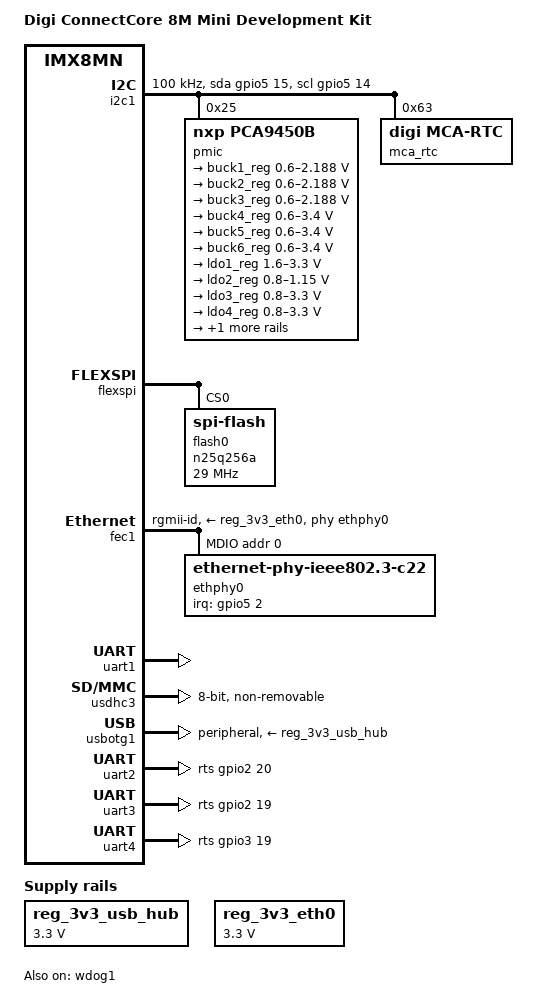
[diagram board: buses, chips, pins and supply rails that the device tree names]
/*
 * Copyright 2019 Digi International Inc
 * Copyright 2018-2019 NXP
 *
 * This program is free software; you can redistribute it and/or
 * modify it under the terms of the GNU General Public License
 * as published by the Free Software Foundation; either version 2
 * of the License, or (at your option) any later version.
 *
 * This program is distributed in the hope that it will be useful,
 * but WITHOUT ANY WARRANTY; without even the implied warranty of
 * MERCHANTABILITY or FITNESS FOR A PARTICULAR PURPOSE.  See the
 * GNU General Public License for more details.
 */

/dts-v1/;

#include <dt-bindings/usb/pd.h>
#include "imx8mn.dtsi"

/ {
	model = "Digi ConnectCore 8M Mini Development Kit";
	compatible = "digi,ccimx8mn", "digi,ccimx8mn-dvk", "fsl,imx8mn-evk", "fsl,imx8mn";

	/*
	 * Some tools (like fw_printenv) rely on fixed mmcblk device indexes
	 * but these are not guaranteed by the kernel.
	 * The use of aliases allows to reorder the mmcblk indexes of every
	 * mmc device. Notice that using aliases requires that ALL mmc devices
	 * have one.
	 */
	aliases {
		mmc0 = &usdhc3;		/* eMMC */
	  //mmc1 = &usdhc2;		/* microSD */
		mmc2 = &usdhc1;
	};

	chosen {
		bootargs = "console=ttymxc0,115200 earlycon=ec_imx6q,0x30860000,115200";
		stdout-path = &uart1;
	};

	regulators {
		compatible = "simple-bus";
		#address-cells = <1>;
		#size-cells = <0>;

		reg_3v3_usb_hub: regulator-usb-hub {
			compatible = "regulator-fixed";
			regulator-name = "3v3_usb_hub";
			regulator-min-microvolt = <3300000>;
			regulator-max-microvolt = <3300000>;
			/* No GPIO enable, always on */
    			regulator-always-on;
    			regulator-boot-on;
		};
		
		reg_3v3_eth0: regulator-ethphy {
			compatible = "regulator-fixed";
			regulator-name = "3v3_eth0";
			regulator-min-microvolt = <3300000>;
			regulator-max-microvolt = <3300000>;
			/* No GPIO enable, always on */
    			regulator-always-on;
			regulator-boot-on;
		};
	};

	thermal-zones {
		/* cpu thermal */
		cpu-thermal {
			polling-delay-passive = <250>;
			polling-delay = <2000>;
			thermal-sensors = <&tmu>;
			trips {
				cpu_alert0: trip0 {
					temperature = <85000>;
					hysteresis = <2000>;
					type = "passive";
				};
				cpu_crit0: trip1 {
					temperature = <100000>;
					hysteresis = <2000>;
					type = "critical";
				};
			};
		};
	};

	mca_gpio_uboot: mca_gpio {
		compatible = "digi,mca-gpio";
		gpio-controller;
	};

	mca_rtc_uboot: mca_rtc {
		compatible = "digi,mca-rtc";
	};

	mca_wdt_uboot: mca_wdt {
		compatible = "digi,mca-wdt";

		soft-rfsh {
			digi,full-reset;
			digi,no-way-out;
		};
	};
};

&iomuxc {
	pinctrl-names = "default";
    pinctrl-0 = <&pinctrl_hog>;
//	pinctrl-0 = <&pinctrl_uart2_gpios>, <&pinctrl_ilock>, <&pinctrl_ttl_i>, <&pinctrl_ttl_o>, <&pinctrl_gpib>;

	imx8mn-evk {
		pinctrl_hog_1: hoggrp-1 {
			fsl,pins = <
				MX8MN_IOMUXC_GPIO1_IO08_GPIO1_IO8		0x16
			>;
		};

		pinctrl_fec1: fec1grp {
			fsl,pins = <
				MX8MN_IOMUXC_ENET_MDC_ENET1_MDC		0x3
				MX8MN_IOMUXC_ENET_MDIO_ENET1_MDIO	0x3
				MX8MN_IOMUXC_ENET_TD3_ENET1_RGMII_TD3	0x1f
				MX8MN_IOMUXC_ENET_TD2_ENET1_RGMII_TD2	0x1f
				MX8MN_IOMUXC_ENET_TD1_ENET1_RGMII_TD1	0x1f
				MX8MN_IOMUXC_ENET_TD0_ENET1_RGMII_TD0	0x1f
				MX8MN_IOMUXC_ENET_RD3_ENET1_RGMII_RD3	0x91
				MX8MN_IOMUXC_ENET_RD2_ENET1_RGMII_RD2	0x91
				MX8MN_IOMUXC_ENET_RD1_ENET1_RGMII_RD1	0x91
				MX8MN_IOMUXC_ENET_RD0_ENET1_RGMII_RD0	0x91
				MX8MN_IOMUXC_ENET_TXC_ENET1_RGMII_TXC	0x1f
				MX8MN_IOMUXC_ENET_RXC_ENET1_RGMII_RXC	0x91
				MX8MN_IOMUXC_ENET_RX_CTL_ENET1_RGMII_RX_CTL	0x91
				MX8MN_IOMUXC_ENET_TX_CTL_ENET1_RGMII_TX_CTL	0x1f
				/* PHY reset */
				// MX8MN_IOMUXC_SPDIF_TX_GPIO5_IO3			0x19
				/* PHY power */
				/* MX8MN_IOMUXC_SPDIF_RX_GPIO5_IO4		0x19  */
				/* PHY interrupt */
			         MX8MN_IOMUXC_SAI3_MCLK_GPIO5_IO2 		0x19  
			>;
		};
		
		/*@Mezrher Serial NOR Flash Boot via FlexSPI-> not used here, but activated whenever needed   */
			
		pinctrl_flexspi0: flexspi0grp {
			fsl,pins = <
			
				MX8MN_IOMUXC_NAND_ALE_QSPI_A_SCLK 0x1c4
				MX8MN_IOMUXC_NAND_CE0_B_QSPI_A_SS0_B 0x84

				MX8MN_IOMUXC_NAND_DATA00_QSPI_A_DATA0 0x84
				MX8MN_IOMUXC_NAND_DATA01_QSPI_A_DATA1 0x84
				MX8MN_IOMUXC_NAND_DATA02_QSPI_A_DATA2 0x84
				MX8MN_IOMUXC_NAND_DATA03_QSPI_A_DATA3 0x84
			
			>;
		};
		 //pmic pinctrl used for the SOM  
		 
		pinctrl_i2c1: i2c1grp {
			fsl,pins = <
				MX8MN_IOMUXC_I2C1_SCL_I2C1_SCL			0x400001c3
				MX8MN_IOMUXC_I2C1_SDA_I2C1_SDA			0x400001c3
			>;
		};
/*
		pinctrl_i2c2: i2c2grp {
			fsl,pins = <
				MX8MN_IOMUXC_I2C2_SCL_I2C2_SCL			0x400001c3
				MX8MN_IOMUXC_I2C2_SDA_I2C2_SDA			0x400001c3
			>;
		};

*/		

/*
		pinctrl_i2c3: i2c3grp {
			fsl,pins = <
				MX8MN_IOMUXC_I2C3_SCL_I2C3_SCL			0x400001c3
				MX8MN_IOMUXC_I2C3_SDA_I2C3_SDA			0x400001c3
			>;
		};
*/
		pinctrl_i2c1_gpio: i2c1grp-gpio {
			fsl,pins = <
				MX8MN_IOMUXC_I2C1_SCL_GPIO5_IO14        		0x1c3
				MX8MN_IOMUXC_I2C1_SDA_GPIO5_IO15        	0x1c3
			>;
		};

/*
		pinctrl_i2c2_gpio: i2c2grp-gpio {
			fsl,pins = <
				MX8MN_IOMUXC_I2C2_SCL_GPIO5_IO16        		0x1c3
				MX8MN_IOMUXC_I2C2_SDA_GPIO5_IO17        	0x1c3
			>;
		};
*/

/*
		pinctrl_i2c3_gpio: i2c3grp-gpio {
			fsl,pins = <
				MX8MN_IOMUXC_I2C3_SCL_GPIO5_IO18        		0x1c3
				MX8MN_IOMUXC_I2C3_SDA_GPIO5_IO19        	0x1c3
			>;
		};

*/

//@Mezrher Check this Pin !!! double use !!! in GPIB Group

/*
		pinctrl_pmic: pmicirq {
			fsl,pins = <
				MX8MN_IOMUXC_GPIO1_IO03_GPIO1_IO3		0x41
			>;
		};
*/

		pinctrl_uart1: uart1grp {
			fsl,pins = <
				MX8MN_IOMUXC_SAI2_RXC_UART1_DCE_RX	0x49
				MX8MN_IOMUXC_SAI2_RXFS_UART1_DCE_TX	0x49
			>;
		};

		pinctrl_usbotg1: usbotg1grp {
			fsl,pins = <
				/* USB hub reset */
				MX8MN_IOMUXC_ECSPI2_SCLK_GPIO5_IO10		0x16
			>;
		};

/*		pinctrl_usdhc2_gpio: usdhc2grpgpio {
			fsl,pins = <
				//Card detect 
				MX8MN_IOMUXC_SD2_CD_B_GPIO2_IO12	0x1d0
				//MUX_VSELECT 
				MX8MN_IOMUXC_SAI3_TXD_GPIO5_IO1	0x190
			>;
		};    
*/

/*
		pinctrl_usdhc2: usdhc2grp {
			fsl,pins = <
				MX8MN_IOMUXC_SD2_CLK_USDHC2_CLK	0x190
				MX8MN_IOMUXC_SD2_CMD_USDHC2_CMD	0x1d0
				MX8MN_IOMUXC_SD2_DATA0_USDHC2_DATA0	0x1d0
				MX8MN_IOMUXC_SD2_DATA1_USDHC2_DATA1	0x1d0
				MX8MN_IOMUXC_SD2_DATA2_USDHC2_DATA2	0x1d0
				MX8MN_IOMUXC_SD2_DATA3_USDHC2_DATA3	0x1d0
			>;
		};
*/

/*

		pinctrl_usdhc2_100mhz: usdhc2grp100mhz {
			fsl,pins = <
				MX8MN_IOMUXC_SD2_CLK_USDHC2_CLK	0x194
				MX8MN_IOMUXC_SD2_CMD_USDHC2_CMD	0x1d4
				MX8MN_IOMUXC_SD2_DATA0_USDHC2_DATA0	0x1d4
				MX8MN_IOMUXC_SD2_DATA1_USDHC2_DATA1	0x1d4
				MX8MN_IOMUXC_SD2_DATA2_USDHC2_DATA2	0x1d4
				MX8MN_IOMUXC_SD2_DATA3_USDHC2_DATA3	0x1d4
			>;
		};
*/

/*
		pinctrl_usdhc2_200mhz: usdhc2grp200mhz {
			fsl,pins = <
				MX8MN_IOMUXC_SD2_CLK_USDHC2_CLK	0x196
				MX8MN_IOMUXC_SD2_CMD_USDHC2_CMD	0x1d6
				MX8MN_IOMUXC_SD2_DATA0_USDHC2_DATA0	0x1d6
				MX8MN_IOMUXC_SD2_DATA1_USDHC2_DATA1	0x1d6
				MX8MN_IOMUXC_SD2_DATA2_USDHC2_DATA2	0x1d6
				MX8MN_IOMUXC_SD2_DATA3_USDHC2_DATA3	0x1d6
			>;
		};
*/

		pinctrl_usdhc3: usdhc3grp {
			fsl,pins = <
				MX8MN_IOMUXC_NAND_WE_B_USDHC3_CLK		0x40000190
				MX8MN_IOMUXC_NAND_WP_B_USDHC3_CMD		0x1d0
				MX8MN_IOMUXC_NAND_DATA04_USDHC3_DATA0		0x1d0
				MX8MN_IOMUXC_NAND_DATA05_USDHC3_DATA1		0x1d0
				MX8MN_IOMUXC_NAND_DATA06_USDHC3_DATA2		0x1d0
				MX8MN_IOMUXC_NAND_DATA07_USDHC3_DATA3		0x1d0
				MX8MN_IOMUXC_NAND_RE_B_USDHC3_DATA4		0x1d0
				MX8MN_IOMUXC_NAND_CE2_B_USDHC3_DATA5		0x1d0
				MX8MN_IOMUXC_NAND_CE3_B_USDHC3_DATA6		0x1d0
				MX8MN_IOMUXC_NAND_CLE_USDHC3_DATA7		0x1d0
				MX8MN_IOMUXC_NAND_CE1_B_USDHC3_STROBE 		0x190
				MX8MN_IOMUXC_NAND_READY_B_USDHC3_RESET_B	0xc1
			>;
		};

		pinctrl_usdhc3_100mhz: usdhc3grp100mhz {
			fsl,pins = <
				MX8MN_IOMUXC_NAND_WE_B_USDHC3_CLK		0x40000194
				MX8MN_IOMUXC_NAND_WP_B_USDHC3_CMD		0x1d4
				MX8MN_IOMUXC_NAND_DATA04_USDHC3_DATA0		0x1d4
				MX8MN_IOMUXC_NAND_DATA05_USDHC3_DATA1		0x1d4
				MX8MN_IOMUXC_NAND_DATA06_USDHC3_DATA2		0x1d4
				MX8MN_IOMUXC_NAND_DATA07_USDHC3_DATA3		0x1d4
				MX8MN_IOMUXC_NAND_RE_B_USDHC3_DATA4		0x1d4
				MX8MN_IOMUXC_NAND_CE2_B_USDHC3_DATA5		0x1d4
				MX8MN_IOMUXC_NAND_CE3_B_USDHC3_DATA6		0x1d4
				MX8MN_IOMUXC_NAND_CLE_USDHC3_DATA7		0x1d4
				MX8MN_IOMUXC_NAND_CE1_B_USDHC3_STROBE 		0x194
				MX8MN_IOMUXC_NAND_READY_B_USDHC3_RESET_B	0xc1
			>;
		};

		pinctrl_usdhc3_200mhz: usdhc3grp200mhz {
			fsl,pins = <
				MX8MN_IOMUXC_NAND_WE_B_USDHC3_CLK		0x40000196
				MX8MN_IOMUXC_NAND_WP_B_USDHC3_CMD		0x1d6
				MX8MN_IOMUXC_NAND_DATA04_USDHC3_DATA0		0x1d6
				MX8MN_IOMUXC_NAND_DATA05_USDHC3_DATA1		0x1d6
				MX8MN_IOMUXC_NAND_DATA06_USDHC3_DATA2		0x1d6
				MX8MN_IOMUXC_NAND_DATA07_USDHC3_DATA3		0x1d6
				MX8MN_IOMUXC_NAND_RE_B_USDHC3_DATA4		0x1d6
				MX8MN_IOMUXC_NAND_CE2_B_USDHC3_DATA5		0x1d6
				MX8MN_IOMUXC_NAND_CE3_B_USDHC3_DATA6		0x1d6
				MX8MN_IOMUXC_NAND_CLE_USDHC3_DATA7		0x1d6
				MX8MN_IOMUXC_NAND_CE1_B_USDHC3_STROBE 		0x196
				MX8MN_IOMUXC_NAND_READY_B_USDHC3_RESET_B	0xc1
			>;
		};

		pinctrl_wdog: wdoggrp {
			fsl,pins = <
				MX8MN_IOMUXC_GPIO1_IO02_WDOG1_WDOG_B		0xc6
			>;
		};
	};
};
 /* @Mezrher I2C1 connects internally to the power management IC (PMIC), 
    the on-module Micro Controller Assist (MCA), 
	and the Atmel Cryptochip */
	
&i2c1 {
	clock-frequency = <100000>;
	pinctrl-names = "default", "gpio";
	pinctrl-0 = <&pinctrl_i2c1>;
	pinctrl-1 = <&pinctrl_i2c1_gpio>;
	scl-gpios = <&gpio5 14 GPIO_ACTIVE_HIGH>;
	sda-gpios = <&gpio5 15 GPIO_ACTIVE_HIGH>;
	status = "okay";

	/*
	 * This PMIC is only present in ccimx8mn revisions 2 and higher, revision 1
	 * of the SOM uses the bd71837. This causes errors when attempting to use
	 * the "pmic" command in v1 SOMs. The initialization of the PMIC is handled
	 * in the SPL without using device tree information, and is compatible with
	 * both PMICs.
	 */
	pmic: pca9450@25 {
		reg = <0x25>;
		compatible = "nxp,pca9450b";

		gpo {
			nxp,drv = <0x0C>;	/* 0b0000_1100 all gpos with cmos output mode */
		};

		regulators {
			#address-cells = <1>;
			#size-cells = <0>;

			pca9450,pmic-buck2-uses-i2c-dvs;
			pca9450,pmic-buck2-dvs-voltage = <1000000>, <900000>, <0>; /* VDD_ARM: Run-Idle */

			buck1_reg: regulator@0 {
				reg = <0>;
				regulator-compatible = "buck1";
				regulator-min-microvolt = <600000>;
				regulator-max-microvolt = <2187500>;
				regulator-boot-on;
				regulator-always-on;
				regulator-ramp-delay = <3125>;
			};

			buck2_reg: regulator@1 {
				reg = <1>;
				regulator-compatible = "buck2";
				regulator-min-microvolt = <600000>;
				regulator-max-microvolt = <2187500>;
				regulator-boot-on;
				regulator-always-on;
				regulator-ramp-delay = <3125>;
			};

			buck3_reg: regulator@2 {
				reg = <2>;
				regulator-compatible = "buck3";
				regulator-min-microvolt = <600000>;
				regulator-max-microvolt = <2187500>;
				regulator-boot-on;
				regulator-always-on;
			};

			buck4_reg: regulator@3 {
				reg = <3>;
				regulator-compatible = "buck4";
				regulator-min-microvolt = <600000>;
				regulator-max-microvolt = <3400000>;
				regulator-boot-on;
				regulator-always-on;
			};

			buck5_reg: regulator@4 {
				reg = <4>;
				regulator-compatible = "buck5";
				regulator-min-microvolt = <600000>;
				regulator-max-microvolt = <3400000>;
				regulator-boot-on;
				regulator-always-on;
			};

			buck6_reg: regulator@5 {
				reg = <5>;
				regulator-compatible = "buck6";
				regulator-min-microvolt = <600000>;
				regulator-max-microvolt = <3400000>;
				regulator-boot-on;
				regulator-always-on;
			};

			ldo1_reg: regulator@6 {
				reg = <6>;
				regulator-compatible = "ldo1";
				regulator-min-microvolt = <1600000>;
				regulator-max-microvolt = <3300000>;
				regulator-boot-on;
				regulator-always-on;
			};

			ldo2_reg: regulator@7 {
				reg = <7>;
				regulator-compatible = "ldo2";
				regulator-min-microvolt = <800000>;
				regulator-max-microvolt = <1150000>;
				regulator-boot-on;
				regulator-always-on;
			};

			ldo3_reg: regulator@8 {
				reg = <8>;
				regulator-compatible = "ldo3";
				regulator-min-microvolt = <800000>;
				regulator-max-microvolt = <3300000>;
				regulator-boot-on;
				regulator-always-on;
			};

			ldo4_reg: regulator@9 {
				reg = <9>;
				regulator-compatible = "ldo4";
				regulator-min-microvolt = <800000>;
				regulator-max-microvolt = <3300000>;
				regulator-boot-on;
				regulator-always-on;
			};

			ldo5_reg: regulator@10 {
				reg = <10>;
				regulator-compatible = "ldo5";
				regulator-min-microvolt = <1800000>;
				regulator-max-microvolt = <3300000>;
			};

		};
	};

	mca_rtc: rtc@63 {
		compatible = "digi,mca-rtc";
		reg = <0x63>;
	};
};
 /*I2C2 (connected to OnBoard Audio Chip, routed the MIPI CAMERA) not used here */
 
 /*
&i2c2 {
	clock-frequency = <400000>;
	pinctrl-names = "default", "gpio";
	pinctrl-0 = <&pinctrl_i2c2>;
	pinctrl-1 = <&pinctrl_i2c2_gpio>;
	scl-gpios = <&gpio5 16 GPIO_ACTIVE_HIGH>;
	sda-gpios = <&gpio5 17 GPIO_ACTIVE_HIGH>;
	status = "okay";
};
*/
/*  I2C3 : connected to SN65DSI83 MIPI-to-LVDS bridge and to LT8912 MIPI-to-HDMI bridge -> NOT USED HERE !  */

/*
&i2c3 {
	clock-frequency = <100000>;
	pinctrl-names = "default", "gpio";
	pinctrl-0 = <&pinctrl_i2c3>;
	pinctrl-1 = <&pinctrl_i2c3_gpio>;
	scl-gpios = <&gpio5 18 GPIO_ACTIVE_HIGH>;
	sda-gpios = <&gpio5 19 GPIO_ACTIVE_HIGH>;
	status = "okay";
};
*/

//@Mezrher: Boot device(internal Boot) Serial NOR flash via FlexSPI interface Page 749. But not used here
/*
The Boot ROM attempts to boot from Serial NOR flash if the BOOT_MODE[3:1] fuses
are programmed to 0b011 as shown in the Serial NOR eFUSE Configuration table, then
the ROM will initialize FlexSPI interface as selected in the BOOT_MODE[0] settings of
the FlexSPI eFUSE configuration. FlexSPI interface initialization is a two-step process.

*/

&flexspi {
	pinctrl-names = "default";
	pinctrl-0 = <&pinctrl_flexspi0>;
	status = "okay";

	flash0: n25q256a@0 {
		reg = <0>;
		#address-cells = <1>;
		#size-cells = <1>;
		compatible = "spi-flash";
		spi-max-frequency = <29000000>;
		spi-nor,ddr-quad-read-dummy = <8>;
	};
};

&fec1 {
	fsl,magic-packet;
	phy-handle = <&ethphy0>;
	phy-mode = "rgmii-id";
	phy-supply = <&reg_3v3_eth0>;
	pinctrl-names = "default";
	pinctrl-0 = <&pinctrl_fec1>;	
	status = "okay";

	mdio {
		#address-cells = <1>;
		#size-cells = <0>;

		ethphy0: ethernet-phy@0 {
			 compatible = "ethernet-phy-ieee802.3-c22";
			 reg = <0>;
			 interrupt-parent = <&gpio5>;  					
			 interrupts = <2 IRQ_TYPE_LEVEL_LOW>; 		
		     micrel,led-mode = <1>;     //@Mezrher changed micrel-mode =<0>;
			 
		};
	};
};

&uart1 { /* console */
	pinctrl-names = "default";
	pinctrl-0 = <&pinctrl_uart1>;
	status = "okay";
};

//MicrSD not used in Bonn Carrier Board 

/*
&usdhc2 {
	
	pinctrl-names = "default", "state_100mhz", "state_200mhz";
	pinctrl-0 = <&pinctrl_usdhc2>, <&pinctrl_usdhc2_gpio>;
	pinctrl-1 = <&pinctrl_usdhc2_100mhz>, <&pinctrl_usdhc2_gpio>;
	pinctrl-2 = <&pinctrl_usdhc2_200mhz>, <&pinctrl_usdhc2_gpio>;
	cd-gpios = <&gpio2 12 GPIO_ACTIVE_HIGH>;
	// Assert GPIO5_IO1 low for 3V3 (default) or high for 1.8V 
	pinctrl-assert-gpios = <&gpio5 1 GPIO_ACTIVE_LOW>;
	//1.8V currently unsupported 
	no-1-8-v;
	bus-width = <4>;
	status = "disabled";
};
*/

&usdhc3 {
	pinctrl-names = "default", "state_100mhz", "state_200mhz";
	pinctrl-0 = <&pinctrl_usdhc3>;
	pinctrl-1 = <&pinctrl_usdhc3_100mhz>;
	pinctrl-2 = <&pinctrl_usdhc3_200mhz>;
	bus-width = <8>;
	non-removable;
	status = "okay";
};

&wdog1 {
	pinctrl-names = "default";
	pinctrl-0 = <&pinctrl_wdog>;
	fsl,ext-reset-output;
	status = "okay";
};

&A53_0 {
	arm-supply = <&buck2_reg>;
};

/* USB_OTG1 connected to usb hub */
&usbotg1 {
	pinctrl-names = "default";
	pinctrl-0 = <&pinctrl_usbotg1>;
	vbus-supply = <&reg_3v3_usb_hub>;
	//fsl,reset-gpio = <&gpio5 10 GPIO_ACTIVE_LOW>;
	dr_mode = "peripheral"; /* Set "host" to use a USB mass storage */
	disable-over-current;
	status = "okay";
};


/*I2C Interface 

1. I2C1 connects internally to the power management IC (PMIC), 
   the on-module Micro Controller Assist (MCA), and the Atmel Cryptochip
   
2. I2C2 is connected to the on-board audio chip, routed to the MIPI camera so
   it can connect to an image sensor and routed to the LVDS connector so it can connect
   to a touch controller
   
3. I2C3 (which operates at 1.8 V) is connected to the on-board LT8912 MIPI-to-HDMI and 
   SN65DSI83 MIPI-to-LVDS display bridges

*/

// Bus0
&uart2 {
	pinctrl-names = "default";
	assigned-clocks = <&clk IMX8MN_CLK_UART2>;
	assigned-clock-parents = <&clk IMX8MN_SYS_PLL1_80M>;
//	pinctrl-0 = <&pinctrl_uart2_rs485>, <&pinctrl_uart2_rs485_re>, <&pinctrl_uart2_gpios>;
	pinctrl-0 = <&pinctrl_uart2_rs485>, <&pinctrl_uart2_rs485_re>;
	rts-gpios = <&gpio2 20 GPIO_ACTIVE_HIGH>;
	status = "okay";
};

// Bus1
&uart3 {
	pinctrl-names = "default";
	assigned-clocks = <&clk IMX8MN_CLK_UART3>;
	assigned-clock-parents = <&clk IMX8MN_SYS_PLL1_80M>;
	pinctrl-0 = <&pinctrl_uart3_rs485>, <&pinctrl_uart3_rs485_re>;
	rts-gpios = <&gpio2 19 GPIO_ACTIVE_HIGH>;
//	rts-gpios = <&gpio5 8 GPIO_ACTIVE_HIGH>;
	status = "okay";
};


&uart4 {	// Bus 2 GPIO	Test: echo "a" > /dev/ttymxc3
	pinctrl-names = "default";
	pinctrl-0 = <&pinctrl_uart4_rs485>, <&pinctrl_uart4_rs485_re>;
	assigned-clocks = <&clk IMX8MN_CLK_UART4>;
	assigned-clock-parents = <&clk IMX8MN_SYS_PLL1_80M>;
	rts-gpios = <&gpio3 19 GPIO_ACTIVE_HIGH>;
	status = "okay";
};
